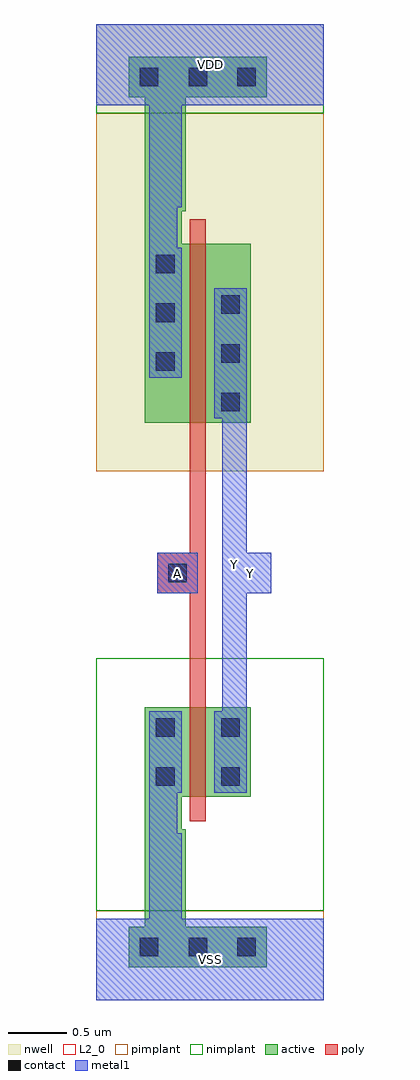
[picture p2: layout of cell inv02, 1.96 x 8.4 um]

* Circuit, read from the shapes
.subckt inv02 A VDD VSS Y
M1 Y A VSS VSS nfet w=0.77u l=0.14u
M2 Y A VDD VDD pfet w=1.54u l=0.14u
.ends

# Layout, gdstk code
import gdstk
lib = gdstk.Library(unit=1e-6, precision=1e-09)
def R(c, l, rs):  # rectangles x0, y0, x1, y1
    for r in rs: c.add(gdstk.rectangle(r[:2], r[2:], *l))
def A(c, l, x, y, w, h, nx, ny, dx, dy):  # array of equal rectangles
    R(c, l, [(x+i*dx, y+j*dy, x+i*dx+w, y+j*dy+h) for i in range(nx) for j in range(ny)])
L2_0 = (2, 0)
nwell = (3, 0)
active = (6, 0)
poly = (17, 0)
pimplant = (25, 0)
nimplant = (26, 0)
contact = (30, 0)
metal1 = (31, 0)

adk_poly_m1 = lib.new_cell('ADK_poly_m1')
R(adk_poly_m1, poly, [(-0.175,-0.175,0.175,0.175)])
R(adk_poly_m1, contact, [(-0.08,-0.08,0.08,0.08)])
R(adk_poly_m1, metal1, [(-0.175,-0.175,0.175,0.175)])

inv02 = lib.new_cell('inv02')
R(inv02, L2_0, [(0,0,1.96,2.94)])
R(inv02, nwell, [(0,4.55,1.96,8.4), (0,4.55,1.96,7.63)])
R(inv02, active, [(0.28,0.28,1.47,0.63), (0.42,0.63,0.77,1.47), (0.42,1.47,0.735,1.75), (0.42,1.75,1.33,2.52), (0.42,1.75,0.805,2.52), (0.945,1.75,1.33,2.52), (0.42,4.97,1.33,6.51), (0.42,4.97,0.805,6.51), (0.945,4.97,1.33,6.51), (0.42,6.51,0.735,6.79), (0.42,6.79,0.77,7.77), (0.28,7.77,1.47,8.12)])
R(inv02, poly, [(0.805,1.54,0.945,1.75), (0.805,1.75,0.945,2.52), (0.805,2.52,0.945,2.73), (0.805,2.695,0.945,4.795), (0.805,4.76,0.945,4.97), (0.805,4.97,0.945,6.51), (0.805,6.51,0.945,6.72)])
R(inv02, pimplant, [(0,0,1.96,0.77), (0,4.55,1.96,7.63)])
R(inv02, nimplant, [(0,0.77,1.96,2.94), (0,7.63,1.96,8.4)])
A(inv02, contact, 0.375, 0.375, 0.16, 0.16, 3, 2, 0.42, 7.49)
A(inv02, contact, 1.075, 5.065, 0.16, 0.16, 1, 3, 0, 0.42)
A(inv02, contact, 0.515, 5.415, 0.16, 0.16, 1, 3, 0, 0.42)
R(inv02, contact, [(0.515,1.845,0.675,2.005), (1.075,1.845,1.235,2.005), (0.515,2.265,0.675,2.425), (1.075,2.265,1.235,2.425)])
R(inv02, metal1, [(0,0,1.96,0.7), (0,0,1.96,0.7), (0.455,0.7,0.735,1.435), (0.455,1.435,0.7,1.785), (0.455,1.785,0.735,2.485), (1.015,1.785,1.295,2.485), (1.085,2.485,1.295,5.005), (0.525,3.5,0.875,3.85), (1.155,3.5,1.505,3.85), (1.155,3.5,1.505,3.85), (1.015,5.005,1.295,6.125), (0.455,5.355,0.735,6.475), (0.455,6.475,0.7,6.825), (0.455,6.825,0.735,7.7), (0,7.7,1.96,8.4), (0,7.7,1.96,8.4)])
inv02.add(gdstk.Reference(adk_poly_m1, (0.7,3.675)))
inv02.add(gdstk.Label('VDD', (0.98,8.05), layer=131, texttype=0))
inv02.add(gdstk.Label('VSS', (0.98,0.35), layer=131, texttype=0))
inv02.add(gdstk.Label('Y', (1.33,3.675), layer=131, texttype=0))
inv02.add(gdstk.Label('A', (0.7,3.675), layer=131, texttype=0))
inv02.add(gdstk.Label('VDD', (0.98,8.05), layer=31, texttype=0))
inv02.add(gdstk.Label('VSS', (0.98,0.35), layer=31, texttype=0))
inv02.add(gdstk.Label('A', (0.7,3.675), layer=31, texttype=0))
inv02.add(gdstk.Label('Y', (1.33,3.675), layer=31, texttype=0))
inv02.add(gdstk.Label('Y', (1.19,3.745), layer=31, texttype=0))

lib.write_gds('inv02.gds')
